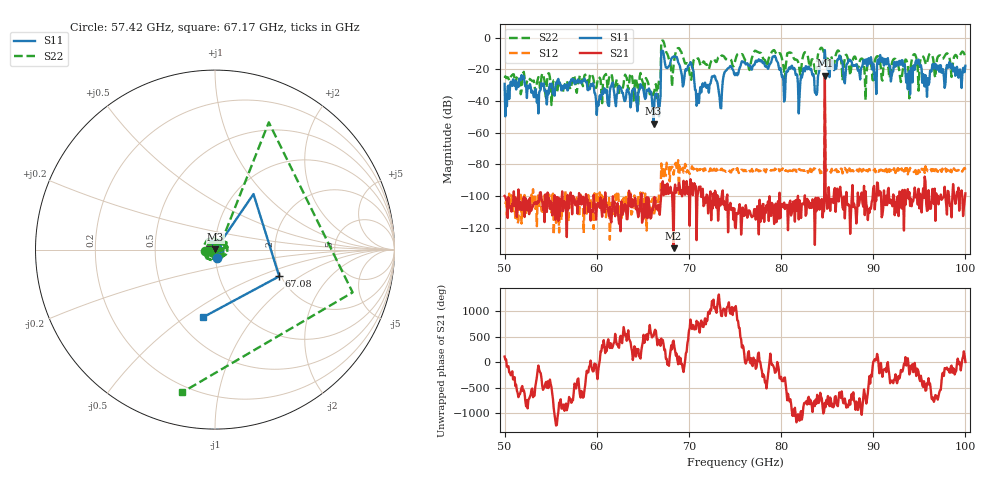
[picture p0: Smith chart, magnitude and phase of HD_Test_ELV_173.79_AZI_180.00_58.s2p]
! 11/25/2026 9:31:17 AM
! C:\ANRITSUVNA\TEMP\TEMP.S2P
! CHANNEL.1
! TR.MEASUREMENT
! RAW.DATA
# HZ S RI R 50.0
! FREQ.HZ  S11RE  S11IM  S21RE  S21IM  S12RE  S12IM  S22RE  S22IM
!; PortSelection: Port_12
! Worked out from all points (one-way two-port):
!   601 points, 50 GHz to 100 GHz, reference 50 ohm
!   highest |S21| = -24.03 dB at 84.75 GHz (marker M1); lowest = -133.0 dB at 68.33 GHz (marker M2)
!   lowest |S11| = -54.3 dB at 66.17 GHz (marker M3), VSWR 1.00, Z = 50.1 + j0.146 ohm
!   |S11| at or under -10 dB: start of sweep to 67 GHz; 67.24 GHz to 84.73 GHz (17.49 GHz wide, 23 % of centre); 84.77 GHz to end of sweep
!   |S22| runs from -42.6 to -1.8 dB; largest |S21 - S12| = 0.053
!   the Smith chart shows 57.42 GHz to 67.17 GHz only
!   S11 on the Smith chart (normalised r, x): 57.42 GHz: 1.02, -0.10; 67.08 GHz: 1.95, -0.69; 67.17 GHz: 0.67, -0.59
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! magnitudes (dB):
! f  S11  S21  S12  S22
! 50 GHz  -29.2  -100.0  -104.2  -25.4
! 57.42 GHz  -26.3  -100.0  -103.0  -25.3
! 58.42 GHz  -27.2  -101.8  -104.5  -29.0
! 60.17 GHz  -43.1  -105.5  -107.1  -24.9
! 66.17 GHz  -54.3  -104.3  -112.8  -35.4
! 66.67 GHz  -42.0  -105.6  -109.4  -32.2
! 67.08 GHz  -8.2  -93.3  -86.8  -1.9
! 67.17 GHz  -8.3  -90.7  -81.4  -1.8
! 68.33 GHz  -11.9  -133.0  -86.6  -17.6
! 68.92 GHz  -16.6  -92.0  -98.8  -6.6
! 70.25 GHz  -16.1  -94.2  -83.3  -26.7
! 70.92 GHz  -40.8  -100.7  -84.1  -13.3
! 75 GHz  -23.7  -119.7  -83.3  -15.0
! 79.25 GHz  -11.8  -117.7  -83.8  -7.9
! 80.25 GHz  -27.6  -107.2  -83.8  -17.6
! 83.42 GHz  -23.8  -102.1  -83.8  -13.6
! 84.75 GHz  -7.8  -24.0  -38.3  -11.9
! 91.67 GHz  -16.6  -94.9  -83.2  -20.4
! 93.75 GHz  -32.6  -95.7  -86.3  -17.2
! 94.83 GHz  -15.0  -105.5  -86.0  -20.3
! 95.83 GHz  -37.4  -109.5  -83.3  -15.9
! 100 GHz  -17.8  -98.4  -83.4  -12.1
